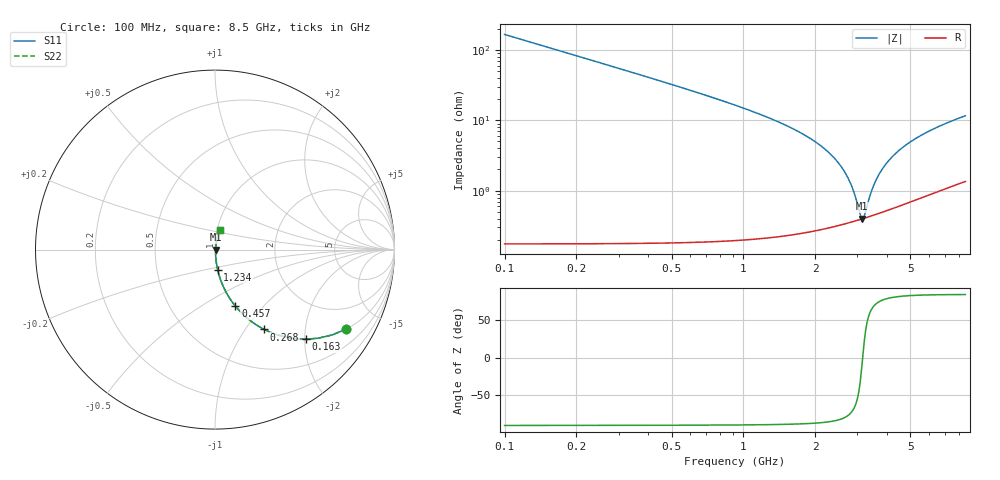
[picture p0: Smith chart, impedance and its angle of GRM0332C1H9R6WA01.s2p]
!Murata Part Number: GRM0332C1H9R6WA01
!These Parameters are Measured in Series Mode Connection
!Data Generated on Mar 30, 2021
!  o--ll--o
!Port1  Port2
!  o------o
!Operation Temp=25[degC], DC Bias Voltage=0[V]
!Freq. Start=100[MHz] Stop=9[GHz] 401[Steps]
# Hz S RI R 50
!Freq.(Hz) S11(Real) S11(Imag) S21(Real) S21(Imag) S12(Real) S12(Imag) S22(Real) S22(Imag)
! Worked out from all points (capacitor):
!   401 points, 100 MHz to 8.5 GHz, reference 50 ohm
!   read as one part in series: C = 9.6 pF near 142 MHz
!   lowest |Z| = 400 mohm at 3.145 GHz (marker M1)
!   series resonance near 3.157 GHz, so ESL is about 260 pH
!   S11 on the Smith chart (normalised r, x): 100 MHz: 1.00, -3.31; 163 MHz: 1.00, -2.03; 268 MHz: 1.00, -1.23; 457 MHz: 1.00, -0.71; 1.234 GHz: 1.00, -0.23; 8.5 GHz: 1.03, +0.23
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1e8  0.7326 -0.4421  0.2674 0.4421  0.2674 0.4421  0.7326 -0.4421
1.63e8  0.5071 -0.4991  0.4929 0.4991  0.4929 0.4991  0.5071 -0.4991
2.68e8  0.2744 -0.4448  0.7256 0.4448  0.7256 0.4448  0.2744 -0.4448
4.57e8  0.1132 -0.3143  0.8868 0.3143  0.8868 0.3143  0.1132 -0.3143
7.72e8  0.0408 -0.1932  0.9592 0.1932  0.9592 0.1932  0.0408 -0.1932
1.234e9  0.0148 -0.1117  0.9852 0.1117  0.9852 0.1117  0.0148 -0.1117
1.507e9  0.00936 -0.0837  0.9906 0.0837  0.9906 0.0837  0.00936 -0.0837
2.074e9  0.00477 -0.0449  0.9952 0.0449  0.9952 0.0449  0.00477 -0.0449
2.431e9  0.00386 -0.0274  0.9961 0.0274  0.9961 0.0274  0.00386 -0.0274
2.704e9  0.00367 -0.0161  0.9963 0.0161  0.9963 0.0161  0.00367 -0.0161
2.914e9  0.00374 -0.00828  0.9963 0.00828  0.9963 0.00828  0.00374 -0.00828
3.082e9  0.00389 -0.00248  0.9961 0.00248  0.9961 0.00248  0.00389 -0.00248
3.145e9  0.00397 -0.000392  0.996 0.000392  0.996 0.000392  0.00397 -0.000392
3.208e9  0.00405 0.00165  0.9959 -0.00165  0.9959 -0.00165  0.00405 0.00165
3.46e9  0.00449 0.00944  0.9955 -0.00944  0.9955 -0.00944  0.00449 0.00944
3.649e9  0.00489 0.0149  0.9951 -0.0149  0.9951 -0.0149  0.00489 0.0149
3.922e9  0.00558 0.0224  0.9944 -0.0224  0.9944 -0.0224  0.00558 0.0224
4.3e9  0.00671 0.032  0.9933 -0.032  0.9933 -0.032  0.00671 0.032
4.909e9  0.00884 0.0461  0.9912 -0.0461  0.9912 -0.0461  0.00884 0.0461
5.707e9  0.0121 0.0626  0.9879 -0.0626  0.9879 -0.0626  0.0121 0.0626
7.114e9  0.0187 0.0884  0.9813 -0.0884  0.9813 -0.0884  0.0187 0.0884
8.5e9  0.0259 0.1108  0.9741 -0.1108  0.9741 -0.1108  0.0259 0.1108
